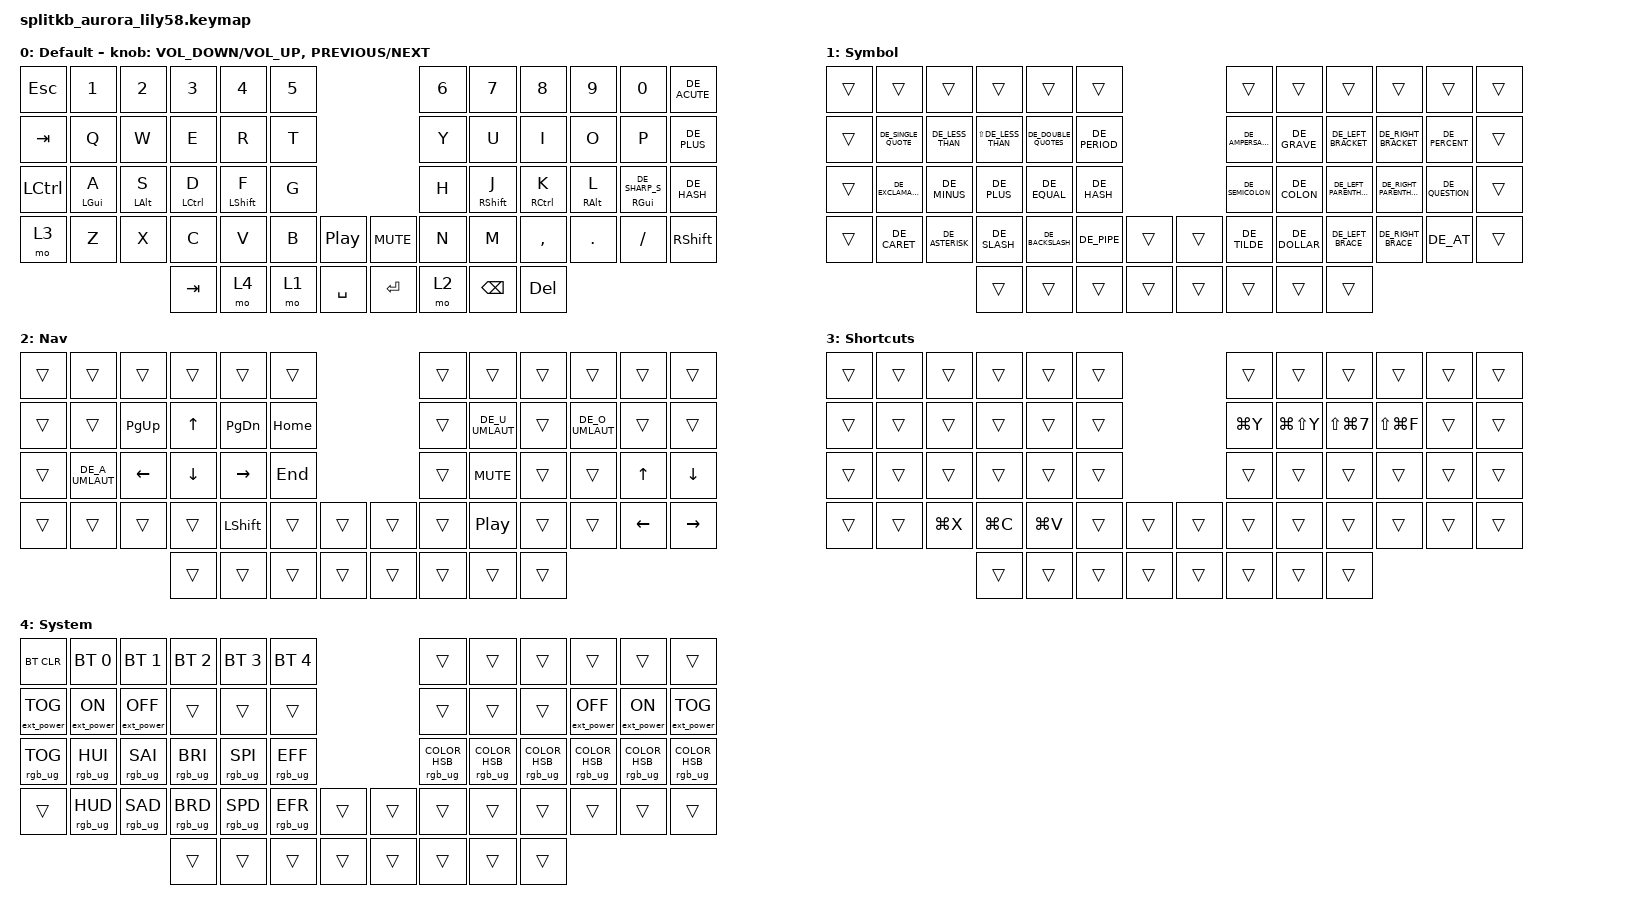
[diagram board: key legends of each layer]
/*
 * Copyright (c) 2022 The ZMK Contributors
 *
 * SPDX-License-Identifier: MIT
 */

#include "keys_de.h"
#include <behaviors.dtsi>
#include <dt-bindings/zmk/bt.h>
#include <dt-bindings/zmk/ext_power.h>
#include <dt-bindings/zmk/keys.h>
#include <dt-bindings/zmk/rgb.h>

&led_strip { chain-length = <29>; };

&nice_view_spi { cs-gpios = <&pro_micro 0 GPIO_ACTIVE_HIGH>; };

/ {
    combos {
        compatible = "zmk,combos";

        systemlayer {
            bindings = <&mo 4>;
            key-positions = <52 51>;
        };

        Copy {
            bindings = <&kp LG(DE_C)>;
            key-positions = <38 39>;
        };

        Paste {
            bindings = <&kp LG(DE_V)>;
            key-positions = <39 40>;
        };

        Cut {
            bindings = <&kp LG(DE_X)>;
            key-positions = <38 39 40>;
        };
    };

    behaviors {
        balanced_homerow_mods: balanced_homerow_mods {
            compatible = "zmk,behavior-hold-tap";
            label = "BALANCED_HOMEROW_MODS";
            bindings = <&kp>, <&kp>;

            #binding-cells = <2>;
            tapping-term-ms = <200>;
            quick-tap-ms = <0>;
            flavor = "balanced";
        };

        homerow_mods: homerow_mods {
            compatible = "zmk,behavior-hold-tap";
            label = "HOMEROW_MODS";
            bindings = <&kp>, <&kp>;

            #binding-cells = <2>;
            tapping-term-ms = <150>;
            quick-tap-ms = <0>;
            flavor = "tap-preferred";
        };
    };

    keymap {
        compatible = "zmk,keymap";

        default_layer {
            // ------------------------------------------------------------------------------------------------------------
            // |  ESC  |  1  |  2  |  3   |  4   |  5   |                   |  6   |  7    |  8    |  9   |   0   |   `   |
            // |  TAB  |  Q  |  W  |  E   |  R   |  T   |                   |  Y   |  U    |  I    |  O   |   P   |   -   |
            // |  CTRL |  A  |  S  |  D   |  F   |  G   |                   |  H   |  J    |  K    |  L   |   ;   |   '   |
            // | SHIFT |  Z  |  X  |  C   |  V   |  B   |   "["  |  |  "]"  |  N   |  M    |  ,    |  .   |   /   | SHIFT |
            //                     | ALT  | GUI  | LOWER|  SPACE |  | ENTER | RAISE| BSPC  | GUI   |

            bindings = <
&kp ESC           &kp N1                             &kp N2                             &kp N3                                 &kp N4                               &kp N5                                  &kp N6  &kp N7                                &kp N8                                  &kp N9                              &kp N0                                       &kp DE_ACUTE
&kp TAB           &kp Q                              &kp W                              &kp E                                  &kp R                                &kp T                                   &kp Y   &kp U                                 &kp I                                   &kp O                               &kp P                                        &kp DE_PLUS
&kp LEFT_CONTROL  &balanced_homerow_mods LEFT_GUI A  &balanced_homerow_mods LEFT_ALT S  &balanced_homerow_mods LEFT_CONTROL D  &balanced_homerow_mods LEFT_SHIFT F  &kp G                                   &kp H   &balanced_homerow_mods RIGHT_SHIFT J  &balanced_homerow_mods RIGHT_CONTROL K  &balanced_homerow_mods RIGHT_ALT L  &balanced_homerow_mods RIGHT_GUI DE_SHARP_S  &kp DE_HASH
&mo 3             &kp Z                              &kp X                              &kp C                                  &kp V                                &kp B   &kp C_PLAY_PAUSE    &kp C_MUTE  &kp N   &kp M                                 &kp COMMA                               &kp DOT                             &kp FSLH                                     &kp RSHFT
                                                                                        &kp TAB                                &mo 4                                &mo 1   &kp SPACE           &kp RET     &mo 2   &kp BSPC                              &kp DELETE
            >;

            sensor-bindings =
                <&inc_dec_kp C_VOLUME_DOWN C_VOLUME_UP>,
                <&inc_dec_kp C_PREVIOUS C_NEXT>;

            label = "Default";
        };

        symbol {
            // ------------------------------------------------------------------------------------------------------------
            // | BTCLR | BT1 | BT2 |  BT3 |  BT4 |  BT5 |                   |      |       |       |      |       |       |
            // |  F1   |  F2 |  F3 |  F4  |  F5  |  F6  |                   |  F7  |  F8   |  F9   |  F10 |  F11  |  F12  |
            // |   `   |  !  |  @  |  #   |  $   |  %   |                   |  ^   |  &    |  *    |  (   |   )   |   ~   |
            // |       |     |     |      |      |      |        |  |       |      |  _    |  +    |  {   |   }   |  "|"  |
            //                     |      |      |      |        |  |       |      |       |       |

            bindings = <
&trans  &trans               &trans            &trans                &trans                &trans                           &trans            &trans         &trans                   &trans                    &trans           &trans
&trans  &kp DE_SINGLE_QUOTE  &kp DE_LESS_THAN  &kp LS(DE_LESS_THAN)  &kp DE_DOUBLE_QUOTES  &kp DE_PERIOD                    &kp DE_AMPERSAND  &kp DE_GRAVE   &kp DE_LEFT_BRACKET      &kp DE_RIGHT_BRACKET      &kp DE_PERCENT   &trans
&trans  &kp DE_EXCLAMATION   &kp DE_MINUS      &kp DE_PLUS           &kp DE_EQUAL          &kp DE_HASH                      &kp DE_SEMICOLON  &kp DE_COLON   &kp DE_LEFT_PARENTHESIS  &kp DE_RIGHT_PARENTHESIS  &kp DE_QUESTION  &trans
&trans  &kp DE_CARET         &kp DE_ASTERISK   &kp DE_SLASH          &kp DE_BACKSLASH      &kp DE_PIPE    &trans    &trans  &kp DE_TILDE      &kp DE_DOLLAR  &kp DE_LEFT_BRACE        &kp DE_RIGHT_BRACE        &kp DE_AT        &trans
                                               &trans                &trans                &trans         &trans    &trans  &trans            &trans         &trans
            >;

            label = "Symbol";
        };

        navigation {
            // ------------------------------------------------------------------------------------------------------------
            // |       |     |     |      |      |      |                   |      |       |       |      |       |       |
            // |   `   |  1  |  2  |  3   |  4   |  5   |                   |  6   |   7   |   8   |  9   |   0   |       |
            // |   F1  |  F2 |  F3 |  F4  |  F5  |  F6  |                   |      |   <-  |   v   |  ^   |  ->   |       |
            // |   F7  |  F8 |  F9 |  F10 |  F11 |  F12 |        |  |       |  +   |   -   |   =   |  [   |   ]   |   \   |
            //                     |      |      |      |        |  |       |      |       |       |

            bindings = <
&trans  &trans           &trans       &trans          &trans          &trans                      &trans  &trans            &trans  &trans           &trans          &trans
&trans  &trans           &kp PAGE_UP  &kp UP_ARROW    &kp PG_DN       &kp HOME                    &trans  &kp DE_U_UMLAUT   &trans  &kp DE_O_UMLAUT  &trans          &trans
&trans  &kp DE_A_UMLAUT  &kp LEFT     &kp DOWN_ARROW  &kp RIGHT       &kp END                     &trans  &kp C_MUTE        &trans  &trans           &kp UP          &kp DOWN_ARROW
&trans  &trans           &trans       &trans          &kp LEFT_SHIFT  &trans    &trans    &trans  &trans  &kp C_PLAY_PAUSE  &trans  &trans           &kp LEFT_ARROW  &kp RIGHT
                                      &trans          &trans          &trans    &trans    &trans  &trans  &trans            &trans
            >;

            label = "Nav";
        };

        Shortcuts {
            bindings = <
&trans  &trans  &trans     &trans     &trans     &trans                    &trans     &trans         &trans                &trans         &trans  &trans
&trans  &trans  &trans     &trans     &trans     &trans                    &kp LG(Y)  &kp LG(LS(Y))  &kp LS(LG(NUMBER_7))  &kp LS(LG(F))  &trans  &trans
&trans  &trans  &trans     &trans     &trans     &trans                    &trans     &trans         &trans                &trans         &trans  &trans
&trans  &trans  &kp LG(X)  &kp LG(C)  &kp LG(V)  &trans  &trans    &trans  &trans     &trans         &trans                &trans         &trans  &trans
                           &trans     &trans     &trans  &trans    &trans  &trans     &trans         &trans
            >;
        };

        system {
            bindings = <
&bt BT_CLR         &bt BT_SEL 0      &bt BT_SEL 1       &bt BT_SEL 2     &bt BT_SEL 3     &bt BT_SEL 4                       &trans                             &trans                           &trans                           &trans                            &trans                            &trans
&ext_power EP_TOG  &ext_power EP_ON  &ext_power EP_OFF  &trans           &trans           &trans                             &trans                             &trans                           &trans                           &ext_power EP_OFF                 &ext_power EP_ON                  &ext_power EP_TOG
&rgb_ug RGB_TOG    &rgb_ug RGB_HUI   &rgb_ug RGB_SAI    &rgb_ug RGB_BRI  &rgb_ug RGB_SPI  &rgb_ug RGB_EFF                    &rgb_ug RGB_COLOR_HSB(296,100,50)  &rgb_ug RGB_COLOR_HSB(39,94,48)  &rgb_ug RGB_COLOR_HSB(62,89,50)  &rgb_ug RGB_COLOR_HSB(208,94,49)  &rgb_ug RGB_COLOR_HSB(360,95,48)  &rgb_ug RGB_COLOR_HSB(130,93,49)
&trans             &rgb_ug RGB_HUD   &rgb_ug RGB_SAD    &rgb_ug RGB_BRD  &rgb_ug RGB_SPD  &rgb_ug RGB_EFR  &trans    &trans  &trans                             &trans                           &trans                           &trans                            &trans                            &trans
                                                        &trans           &trans           &trans           &trans    &trans  &trans                             &trans                           &trans
            >;

            label = "System";
        };
    };
};
